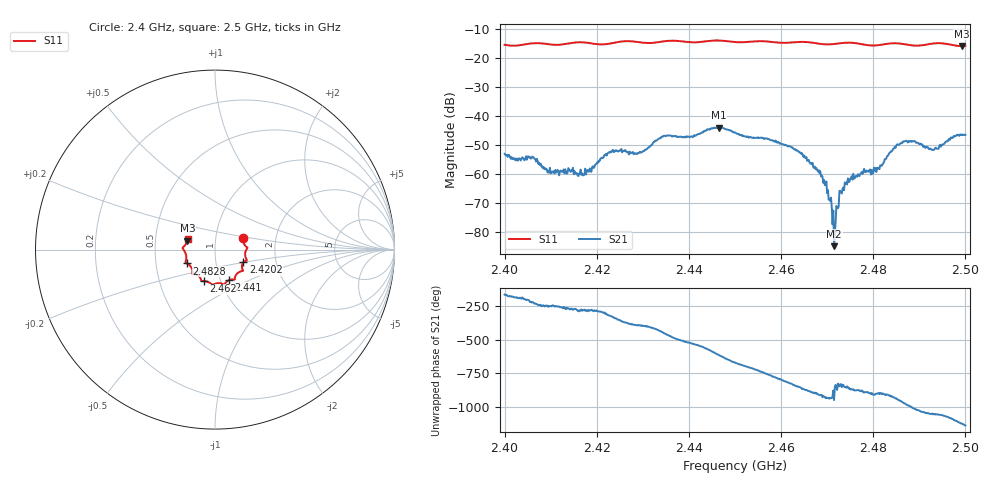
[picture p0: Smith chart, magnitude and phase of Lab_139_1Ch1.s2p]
# Hz S RI R 50
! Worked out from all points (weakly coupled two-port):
!   601 points, 2.4 GHz to 2.5 GHz, reference 50 ohm
!   highest |S21| = -43.90 dB at 2.4465 GHz (marker M1); lowest = -84.7 dB at 2.4715 GHz (marker M2)
!   lowest |S11| = -15.8 dB at 2.4992 GHz (marker M3), VSWR 1.39, Z = 36.5 + j3.67 ohm
!   |S11| at or under -10 dB: start of sweep to end of sweep
!   S12 and S22 are empty: the file has one direction only
!   S11 on the Smith chart (normalised r, x): 2.4 GHz: 1.36, +0.18; 2.4202 GHz: 1.36, -0.20; 2.441 GHz: 1.10, -0.39; 2.462 GHz: 0.84, -0.30; 2.4828 GHz: 0.72, -0.11; 2.5 GHz: 0.73, +0.09
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2.4e9  0.1575 0.0628  -0.00216 -0.000637  0 0  0 0
2.409833e9  0.1723 -0.0043  -0.000459 0.00121  0 0  0 0
2.416667e9  0.1777 -0.06  8.41e-05 0.000978  0 0  0 0
2.420167e9  0.1584 -0.0707  0.000495 0.00157  0 0  0 0
2.423e9  0.15 -0.0975  0.00196 0.0015  0 0  0 0
2.429333e9  0.1427 -0.1215  0.00204 -0.00135  0 0  0 0
2.433333e9  0.1124 -0.151  0.00151 -0.00376  0 0  0 0
2.441e9  0.0786 -0.1697  -0.00446 -0.000618  0 0  0 0
2.4465e9  0.0499 -0.1948  -0.00177 0.00613  0 0  0 0
2.45e9  0.0286 -0.1871  0.00344 0.00398  0 0  0 0
2.462e9  -0.0605 -0.1755  -0.000778 -0.00294  0 0  0 0
2.466667e9  -0.0778 -0.1681  -0.00147 -0.000234  0 0  0 0
2.469333e9  -0.0895 -0.1483  -0.000741 0.00031  0 0  0 0
2.4715e9  -0.1092 -0.1369  -3.77e-05 4.41e-05  0 0  0 0
2.473167e9  -0.1215 -0.1352  -0.000317 -0.000344  0 0  0 0
2.474333e9  -0.1256 -0.1349  -0.000405 -0.000533  0 0  0 0
2.482833e9  -0.1576 -0.0773  -0.00186 0.000279  0 0  0 0
2.483333e9  -0.1606 -0.0759  -0.00216 0.000481  0 0  0 0
2.486667e9  -0.1625 -0.063  -0.00108 0.00353  0 0  0 0
2.492833e9  -0.1778 0.00343  0.00229 0.00132  0 0  0 0
2.499167e9  -0.1539 0.049  0.00336 -0.00333  0 0  0 0
2.5e9  -0.1516 0.061  0.0025 -0.00405  0 0  0 0
